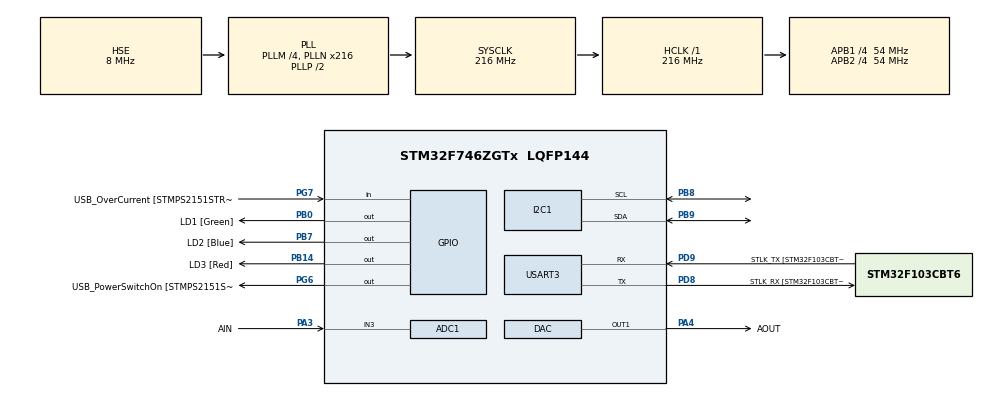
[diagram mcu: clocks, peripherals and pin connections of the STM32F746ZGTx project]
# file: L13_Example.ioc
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ADC1.Channel-0\#ChannelRegularConversion=ADC_CHANNEL_3
ADC1.ClockPrescaler=ADC_CLOCK_SYNC_PCLK_DIV8
ADC1.ContinuousConvMode=DISABLE
ADC1.DMAContinuousRequests=ENABLE
ADC1.EOCSelection=ADC_EOC_SEQ_CONV
ADC1.ExternalTrigConv=ADC_EXTERNALTRIGCONV_T2_TRGO
ADC1.InjNumberOfConversion=0
ADC1.NbrOfConversion=1
ADC1.NbrOfConversionFlag=1
ADC1.Rank-0\#ChannelRegularConversion=1
ADC1.SamplingTime-0\#ChannelRegularConversion=ADC_SAMPLETIME_480CYCLES
ADC1.master=1
DAC.DAC_OutputBuffer=DAC_OUTPUTBUFFER_DISABLE
DAC.DAC_Trigger=DAC_TRIGGER_NONE
Dma.ADC1.0.Direction=DMA_PERIPH_TO_MEMORY
Dma.ADC1.0.FIFOMode=DMA_FIFOMODE_DISABLE
Dma.ADC1.0.Instance=DMA2_Stream0
Dma.ADC1.0.MemDataAlignment=DMA_MDATAALIGN_HALFWORD
Dma.ADC1.0.MemInc=DMA_MINC_ENABLE
Dma.ADC1.0.Mode=DMA_CIRCULAR
Dma.ADC1.0.PeriphDataAlignment=DMA_PDATAALIGN_HALFWORD
Dma.ADC1.0.PeriphInc=DMA_PINC_DISABLE
Dma.ADC1.0.Priority=DMA_PRIORITY_LOW
Dma.Request0=ADC1
Dma.Request1=USART3_TX
Dma.Request2=USART3_RX
Dma.USART3_RX.2.Direction=DMA_PERIPH_TO_MEMORY
Dma.USART3_RX.2.FIFOMode=DMA_FIFOMODE_DISABLE
Dma.USART3_RX.2.Instance=DMA1_Stream1
Dma.USART3_RX.2.MemDataAlignment=DMA_MDATAALIGN_BYTE
Dma.USART3_RX.2.MemInc=DMA_MINC_ENABLE
Dma.USART3_RX.2.Mode=DMA_NORMAL
Dma.USART3_RX.2.PeriphDataAlignment=DMA_PDATAALIGN_BYTE
Dma.USART3_RX.2.PeriphInc=DMA_PINC_DISABLE
Dma.USART3_RX.2.Priority=DMA_PRIORITY_LOW
Dma.USART3_TX.1.Direction=DMA_MEMORY_TO_PERIPH
Dma.USART3_TX.1.FIFOMode=DMA_FIFOMODE_DISABLE
Dma.USART3_TX.1.Instance=DMA1_Stream3
Dma.USART3_TX.1.MemDataAlignment=DMA_MDATAALIGN_BYTE
Dma.USART3_TX.1.MemInc=DMA_MINC_ENABLE
Dma.USART3_TX.1.Mode=DMA_NORMAL
Dma.USART3_TX.1.PeriphDataAlignment=DMA_PDATAALIGN_BYTE
Dma.USART3_TX.1.PeriphInc=DMA_PINC_DISABLE
Dma.USART3_TX.1.Priority=DMA_PRIORITY_HIGH
I2C1.Timing=0x20404768
Mcu.Family=STM32F7
Mcu.Name=STM32F746ZGTx
Mcu.Package=LQFP144
NVIC.DMA1_Stream1_IRQn=true\:0\:0\:false\:false\:true\:false\:true\:true
NVIC.DMA1_Stream3_IRQn=true\:0\:0\:false\:false\:true\:false\:true\:true
NVIC.DMA2_Stream0_IRQn=true\:0\:0\:false\:false\:true\:false\:true\:true
NVIC.PriorityGroup=NVIC_PRIORITYGROUP_4
NVIC.TIM6_DAC_IRQn=true\:0\:0\:false\:false\:true\:true\:true\:true
NVIC.USART3_IRQn=true\:0\:0\:false\:false\:true\:true\:true\:true
PA1.GPIO_Label=RMII_REF_CLK [LAN8742A-CZ-TR_REFCLK0]
PA1.Signal=ETH_REF_CLK
PA10.GPIO_Label=USB_ID
PA10.Signal=USB_OTG_FS_ID
PA11.GPIO_Label=USB_DM
PA11.Signal=USB_OTG_FS_DM
PA12.GPIO_Label=USB_DP
PA12.Signal=USB_OTG_FS_DP
PA13.GPIO_Label=TMS
PA13.Mode=Serial_Wire
PA13.Signal=SYS_JTMS-SWDIO
PA14.GPIO_Label=TCK
PA14.Mode=Serial_Wire
PA14.Signal=SYS_JTCK-SWCLK
PA2.GPIO_Label=RMII_MDIO [LAN8742A-CZ-TR_MDIO]
PA2.Signal=ETH_MDIO
PA3.GPIO_Label=AIN
PA3.Signal=ADCx_IN3
PA4.GPIO_Label=AOUT
PA4.Signal=COMP_DAC1_group
PA8.GPIO_Label=USB_SOF [TP1]
PA8.Signal=USB_OTG_FS_SOF
PA9.GPIO_Label=USB_VBUS
PA9.Signal=USB_OTG_FS_VBUS
PB0.GPIO_Label=LD1 [Green]
PB0.Signal=GPIO_Output
PB1.GPIO_Label=TM3_PWM_CH4
PB1.Signal=S_TIM3_CH4
PB13.GPIO_Label=RMII_TXD1 [LAN8742A-CZ-TR_TXD1]
PB13.Signal=ETH_TXD1
PB14.GPIO_Label=LD3 [Red]
PB14.Signal=GPIO_Output
PB3.GPIO_Label=SW0
PB3.Signal=SYS_JTDO-SWO
PB4.GPIO_Label=LED_RGB_CH_R
PB4.Signal=S_TIM3_CH1
PB7.GPIO_Label=LD2 [Blue]
PB7.Signal=GPIO_Output
PB8.Mode=I2C
PB8.Signal=I2C1_SCL
PB9.Mode=I2C
PB9.Signal=I2C1_SDA
PC1.GPIO_Label=RMII_MDC [LAN8742A-CZ-TR_MDC]
PC1.Signal=ETH_MDC
PC14/OSC32_IN.Mode=LSE-External-Oscillator
PC14/OSC32_IN.Signal=RCC_OSC32_IN
PC15/OSC32_OUT.Mode=LSE-External-Oscillator
PC15/OSC32_OUT.Signal=RCC_OSC32_OUT
PC4.GPIO_Label=RMII_RXD0 [LAN8742A-CZ-TR_RXD0]
PC4.Signal=ETH_RXD0
PC5.GPIO_Label=RMII_RXD1 [LAN8742A-CZ-TR_RXD1]
PC5.Signal=ETH_RXD1
PD8.GPIO_Label=STLK_RX [STM32F103CBT6_PA3]
PD8.Mode=Asynchronous
PD8.Signal=USART3_TX
PD9.GPIO_Label=STLK_TX [STM32F103CBT6_PA2]
PD9.Mode=Asynchronous
PD9.Signal=USART3_RX
PG11.GPIO_Label=RMII_TX_EN [LAN8742A-CZ-TR_TXEN]
PG11.Signal=ETH_TX_EN
PG13.GPIO_Label=RMII_TXD0 [LAN8742A-CZ-TR_TXD0]
PG13.Signal=ETH_TXD0
PG6.GPIO_Label=USB_PowerSwitchOn [STMPS2151STR_EN]
PG6.Signal=GPIO_Output
PG7.GPIO_Label=USB_OverCurrent [STMPS2151STR_FAULT]
PG7.Signal=GPIO_Input
PH0/OSC_IN.GPIO_Label=MCO [STM32F103CBT6_PA8]
PH0/OSC_IN.Mode=HSE-External-Clock-Source
PH0/OSC_IN.Signal=RCC_OSC_IN
PH1/OSC_OUT.Mode=HSE-External-Clock-Source
PH1/OSC_OUT.Signal=RCC_OSC_OUT
ProjectManager.HeapSize=0x200
ProjectManager.StackSize=0x400
ProjectManager.TargetToolchain=STM32CubeIDE
RCC.48MHZClocksFreq_Value=24000000
RCC.AHBFreq_Value=216000000
RCC.APB1CLKDivider=RCC_HCLK_DIV4
RCC.APB1Freq_Value=54000000
RCC.APB1TimFreq_Value=108000000
RCC.APB2CLKDivider=RCC_HCLK_DIV4
RCC.APB2Freq_Value=54000000
RCC.APB2TimFreq_Value=108000000
RCC.CortexFreq_Value=216000000
RCC.HCLKFreq_Value=216000000
RCC.HSE_VALUE=8000000
RCC.HSI_VALUE=16000000
RCC.PLLM=4
RCC.PLLMUL=RCC_PLL_MUL9
RCC.PLLN=216
RCC.PLLQ=3
RCC.PLLSourceVirtual=RCC_PLLSOURCE_HSE
RCC.PRESCALERUSB=RCC_USBCLKSOURCE_PLL_DIV1_5
RCC.SYSCLKFreq_VALUE=216000000
RCC.SYSCLKSource=RCC_SYSCLKSOURCE_PLLCLK
RCC.SYSCLKSourceVirtual=RCC_SYSCLKSOURCE_PLLCLK
RCC.USBFreq_Value=144000000
RCC.VCOOutputFreq_Value=432000000
SH.ADCx_IN3.0=ADC1_IN3,IN3
SH.COMP_DAC1_group.0=DAC_OUT1,DAC_OUT1
SH.S_TIM3_CH1.0=TIM3_CH1
SH.S_TIM3_CH4.0=TIM3_CH4
TIM2.Period=100000 - 1
TIM2.Prescaler=108 - 1
TIM2.TIM_MasterOutputTrigger=TIM_TRGO_UPDATE
USART3.VirtualMode-Asynchronous=VM_ASYNC
VP_TIM2_VS_ClockSourceINT.Mode=Internal
board=NUCLEO-F746ZG

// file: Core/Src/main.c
/* USER CODE BEGIN Header */
/**
  ******************************************************************************
  * @file           : main.c
  * @brief          : Main program body
  ******************************************************************************
  * @attention
  *
  * Copyright (c) 2025 STMicroelectronics.
  * All rights reserved.
  *
  * This software is licensed under terms that can be found in the LICENSE file
  * in the root directory of this software component.
  * If no LICENSE file comes with this software, it is provided AS-IS.
  *
  ******************************************************************************
  */
/* USER CODE END Header */
#include "main.h"
#include "adc.h"
#include "dac.h"
#include "dma.h"
#include "i2c.h"
#include "tim.h"
#include "usart.h"
#include "gpio.h"

/* USER CODE BEGIN Includes */
#include <stdio.h>
#include <string.h>
#include "aio.h"
/* USER CODE END Includes */

/* USER CODE BEGIN PV */
uint16_t ADC_DMA_Buffer[ADC1_NUMBER_OF_CONV];
uint8_t UART_Cmd[] = "XXX";
unsigned int UART_CmdLen;
/* USER CODE END PV */

void SystemClock_Config(void);

/* USER CODE BEGIN 0 */
/**
  * @brief  Regular conversion complete callback in non blocking mode
  * @param  hadc pointer to a ADC_HandleTypeDef structure that contains
  *         the configuration information for the specified ADC.
  * @retval None
  */
void HAL_ADC_ConvCpltCallback(ADC_HandleTypeDef* hadc)
{
  if(hadc == &hadc1)
  {
    static uint8_t UART_TxData[4];
    unsigned int UART_TxDataLen = snprintf((char*)UART_TxData, sizeof(UART_TxData), "%03X", ADC_DMA_Buffer[0]);
    HAL_UART_Transmit_DMA(&huart3, UART_TxData, UART_TxDataLen);
  }
}

/**
  * @brief  Rx Transfer completed callback.
  * @param  huart UART handle.
  * @retval None
  */
void HAL_UART_RxCpltCallback(UART_HandleTypeDef *huart)
{
  if(huart == &huart3)
  {
    unsigned int DAC_Value;
    if(sscanf((char*)UART_Cmd, "%03X", &DAC_Value))
      HAL_DAC_SetValue(&hdac, DAC_CHANNEL_1, DAC_ALIGN_12B_R, DAC_Value);
    HAL_UART_Receive_DMA(&huart3, UART_Cmd, UART_CmdLen);
  }
}
/* USER CODE END 0 */

int main(void)
{

  /* MCU Configuration--------------------------------------------------------*/

  /* Reset of all peripherals, Initializes the Flash interface and the Systick. */
  HAL_Init();

  /* Configure the system clock */
  SystemClock_Config();

  /* Initialize all configured peripherals */
  MX_GPIO_Init();
  MX_DMA_Init();
  MX_USART3_UART_Init();
  MX_I2C1_Init();
  MX_ADC1_Init();
  MX_DAC_Init();
  MX_TIM2_Init();
  /* USER CODE BEGIN 2 */
  HAL_ADC_Start_DMA(&hadc1, (uint32_t*)ADC_DMA_Buffer, ADC1_NUMBER_OF_CONV);
  HAL_DAC_Start(&hdac, DAC_CHANNEL_1);
  HAL_TIM_Base_Start(&htim2);
  UART_CmdLen = strlen((char*)UART_Cmd);
  HAL_UART_Receive_DMA(&huart3, UART_Cmd, UART_CmdLen);
  /* USER CODE END 2 */

  /* Infinite loop */
  while (1)
  {

  }
}

void SystemClock_Config(void)
{
  RCC_OscInitTypeDef RCC_OscInitStruct = {0};
  RCC_ClkInitTypeDef RCC_ClkInitStruct = {0};

  /** Configure LSE Drive Capability
  */
  HAL_PWR_EnableBkUpAccess();

  /** Configure the main internal regulator output voltage
  */
  __HAL_RCC_PWR_CLK_ENABLE();
  __HAL_PWR_VOLTAGESCALING_CONFIG(PWR_REGULATOR_VOLTAGE_SCALE1);

  /** Initializes the RCC Oscillators according to the specified parameters
  * in the RCC_OscInitTypeDef structure.
  */
  RCC_OscInitStruct.OscillatorType = RCC_OSCILLATORTYPE_HSE;
  RCC_OscInitStruct.HSEState = RCC_HSE_BYPASS;
  RCC_OscInitStruct.PLL.PLLState = RCC_PLL_ON;
  RCC_OscInitStruct.PLL.PLLSource = RCC_PLLSOURCE_HSE;
  RCC_OscInitStruct.PLL.PLLM = 4;
  RCC_OscInitStruct.PLL.PLLN = 216;
  RCC_OscInitStruct.PLL.PLLP = RCC_PLLP_DIV2;
  RCC_OscInitStruct.PLL.PLLQ = 3;
  if (HAL_RCC_OscConfig(&RCC_OscInitStruct) != HAL_OK)
  {
    Error_Handler();
  }

  /** Activate the Over-Drive mode
  */
  if (HAL_PWREx_EnableOverDrive() != HAL_OK)
  {
    Error_Handler();
  }

  /** Initializes the CPU, AHB and APB buses clocks
  */
  RCC_ClkInitStruct.ClockType = RCC_CLOCKTYPE_HCLK|RCC_CLOCKTYPE_SYSCLK
                              |RCC_CLOCKTYPE_PCLK1|RCC_CLOCKTYPE_PCLK2;
  RCC_ClkInitStruct.SYSCLKSource = RCC_SYSCLKSOURCE_PLLCLK;
  RCC_ClkInitStruct.AHBCLKDivider = RCC_SYSCLK_DIV1;
  RCC_ClkInitStruct.APB1CLKDivider = RCC_HCLK_DIV4;
  RCC_ClkInitStruct.APB2CLKDivider = RCC_HCLK_DIV4;

  if (HAL_RCC_ClockConfig(&RCC_ClkInitStruct, FLASH_LATENCY_7) != HAL_OK)
  {
    Error_Handler();
  }
}

void Error_Handler(void)
{
  __disable_irq();
  while (1)
  {
  }
}
